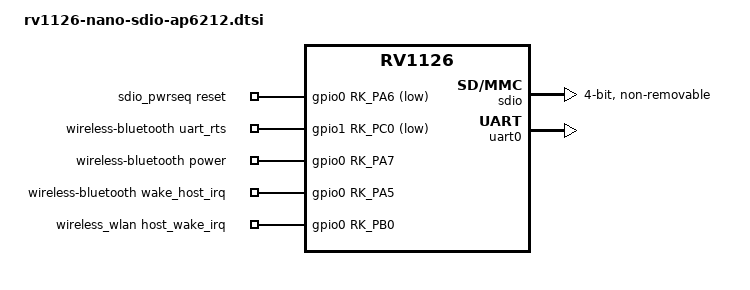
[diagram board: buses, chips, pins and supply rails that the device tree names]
// SPDX-License-Identifier: (GPL-2.0+ OR MIT)
/*
 * Guangzhou Easy EAI Technology Co., Ltd.
 *
 */

/ {
	sdio_pwrseq: sdio-pwrseq {
		compatible = "mmc-pwrseq-simple";
		pinctrl-names = "default";
		pinctrl-0 = <&wifi_enable_h>;

		/*
		 * On the module itself this is one of these (depending
		 * on the actual card populated):
		 * - SDIO_RESET_L_WL_REG_ON
		 * - PDN (power down when low)
		 */
		reset-gpios = <&gpio0 RK_PA6 GPIO_ACTIVE_LOW>;
	};

	wireless-bluetooth {
		compatible = "bluetooth-platdata";
		uart_rts_gpios = <&gpio1 RK_PC0 GPIO_ACTIVE_LOW>;
		pinctrl-names = "default", "rts_gpio";
		pinctrl-0 = <&uart0_rtsn>;
		pinctrl-1 = <&uart0_rtsn_gpio>;
		BT,power_gpio    = <&gpio0 RK_PA7 GPIO_ACTIVE_HIGH>;
		BT,wake_host_irq = <&gpio0 RK_PA5 GPIO_ACTIVE_HIGH>;
		status = "okay";
	};

	wireless_wlan: wireless-wlan {
		compatible = "wlan-platdata";
		rockchip,grf = <&grf>;
		clocks = <&rk809 1>;
		clock-names = "clk_wifi";
		pinctrl-names = "default";
		pinctrl-0 = <&wifi_wake_host>;
		wifi_chip_type = "ap6255";
		/* WIFI,poweren_gpio = <&gpio0 RK_PA6 GPIO_ACTIVE_HIGH>; */
		WIFI,host_wake_irq = <&gpio0 RK_PB0 GPIO_ACTIVE_HIGH>;
		status = "okay";
	};
};

&pinctrl {
	sdio-pwrseq {
		/omit-if-no-ref/
		wifi_enable_h: wifi-enable-h {
			rockchip,pins = <0 RK_PA6 RK_FUNC_GPIO &pcfg_pull_none>;
		};
	};

	wireless-wlan {
		/omit-if-no-ref/
		wifi_wake_host: wifi-wake-host {
			rockchip,pins = <0 RK_PB0 0 &pcfg_pull_up>;
		};
	};
};

&sdio {
	max-frequency = <200000000>;
	bus-width = <4>;
	cap-sd-highspeed;
	cap-sdio-irq;
	keep-power-in-suspend;
	non-removable;
	rockchip,default-sample-phase = <90>;
	sd-uhs-sdr104;
	supports-sdio;
	mmc-pwrseq = <&sdio_pwrseq>;
	status = "okay";
};

&uart0 {
	pinctrl-names = "default";
	pinctrl-0 = <&uart0_xfer &uart0_ctsn>;
	status = "okay";
};
